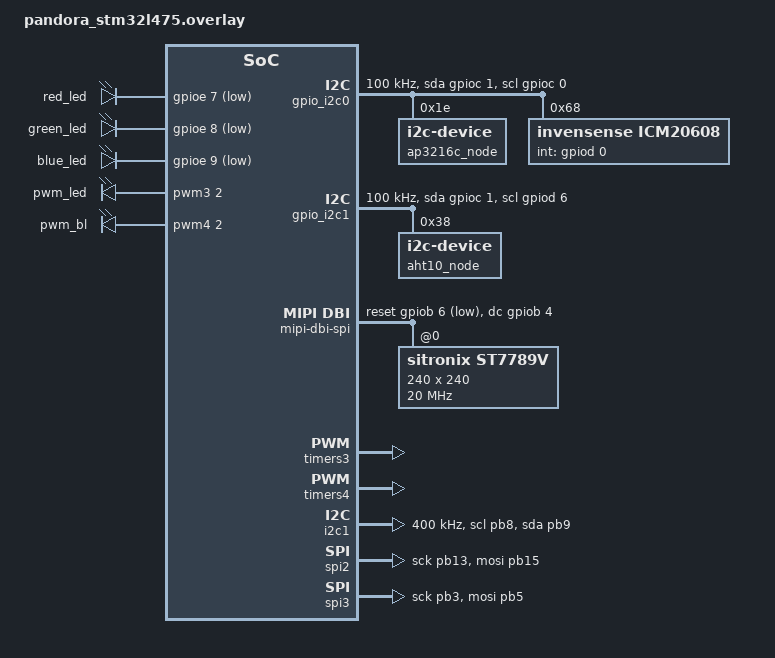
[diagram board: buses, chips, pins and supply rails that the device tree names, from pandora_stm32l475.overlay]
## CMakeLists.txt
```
# SPDX-License-Identifier: Apache-2.0

# 设定CMake最低版本门槛
cmake_minimum_required(VERSION 3.20.0)

# 告诉 Zephyr 在哪里找自定义的设备树绑定文件
list(APPEND DTC_OVERLAY_FILE "${CMAKE_CURRENT_SOURCE_DIR}/pandora_stm32l475.overlay")

# 设置自定义设备树绑定文件 (Bindings) 的搜索根目录。
# ${CMAKE_CURRENT_SOURCE_DIR} 指的是当前 CMakeLists.txt 所在的文件夹路径。
# 这行代码告诉 Zephyr 编译器：“除了去内核找硬件定义，也去我当前的项目目录下找找（通常是 dts/bindings 目录）”。
# 这样你写的 custom,sh1106.yaml 才能被系统识别。
set(DTS_ROOT ${CMAKE_CURRENT_SOURCE_DIR})

# 引入 Zephyr 编译框架的核心包。
# REQUIRED 表示这个包是必须的，找不到就直接报错停止。
# HINTS $ENV{ZEPHYR_BASE} 是给编译器一个“线索”，告诉它去环境变量 ZEPHYR_BASE 指向的路径找 Zephyr。
# 执行完这一行后，Zephyr 的所有编译规则、库文件、驱动框架都会被加载进你的项目中。
find_package(Zephyr REQUIRED HINTS $ENV{ZEPHYR_BASE})

# 定义当前项目的名称。
# 这里将项目命名为 "application"。这个名字会影响最终生成的二进制文件名（如 application.elf）。
# 它必须放在 find_package(Zephyr ...) 之后，因为 Zephyr 需要先初始化环境才能支持后续的项目定义。
project(application)

# 添加应用程序私有的头文件目录
# PRIVATE 表示这个 include 路径只对当前 app target 有效
target_include_directories(app PRIVATE
    include
    drivers/include
)

# 添加所有源文件到应用程序目标
target_sources(app PRIVATE
    src/main.c
    src/led_thread.c
    # src/switch_thread.c
    src/ap3216c_thread.c
    src/aht10_thread.c
    src/icm20608_thread.c
    src/display_thread.c
    # src/norflash_thread.c
    src/fs_thread.c
    src/storage_thread.c
    drivers/data_center.c
    drivers/ap3216c_drv.c
    drivers/aht10_drv.c
    drivers/icm20608_drv.c
    drivers/ssd1306_drv.c
    drivers/st7789v_drv.c
)

# (可选) 链接所需的 Zephyr 库
# 正确的链接方式：只需要链接到 'zephyr' 目标
target_link_libraries(app PRIVATE
    zephyr
)
```

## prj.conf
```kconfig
#
# Kernel & System (内核与系统基础)
#
# 定义系统时钟滴答的频率
CONFIG_SYS_CLOCK_TICKS_PER_SEC=1000
# 启用 Newlib C 库
CONFIG_NEWLIB_LIBC=y
# LVGL初始化或文件系统操作会复用main stack，因此需要增加 main stack size
CONFIG_MAIN_STACK_SIZE=4096
# 开启 Zephyr 的输入子系统
CONFIG_INPUT=y

#
# ==========================================================
# 第一部分：Console (控制台) - 解决“信息从哪发出来”
# ==========================================================
# 启用控制台基础功能
CONFIG_CONSOLE=y

# 【关键点】必须为 y！
# 它是内核启动早期（Shell还没启动时）打印 Zephyr 版本信息的唯一通道。
# 如果设为 n，你将看不到 "*** Booting Zephyr OS ***" 这一行。
CONFIG_UART_CONSOLE=y

# 允许 printk 函数将信息发送到控制台
CONFIG_STDOUT_CONSOLE=y

# ==========================================================
# 第二部分：Logging (日志) - 解决“系统发生了什么”
# ==========================================================
# 启用日志系统
CONFIG_LOG=y

# 设置日志的显示模式
# 由于我们要用 Shell 来显示日志，所以禁用掉原始的 UART 直接输出模式，
# 防止日志和 Shell 的字符在屏幕上打架（乱码）。
CONFIG_LOG_BACKEND_UART=n

# 允许 printk 输出的信息也被当作日志处理
CONFIG_LOG_PRINTK=y

# 日志级别设置（4 是最高级别 INFO，能看到大部分信息）
CONFIG_LOG_MAX_LEVEL=4

# ==========================================================
# 第三部分：Shell (外壳) - 解决“如何与开发板交互”
# ==========================================================
# 启用 Shell 功能
CONFIG_SHELL=y
CONFIG_SHELL_BACKENDS=y

# 启用串口作为 Shell 的后端（让你可以通过串口助手输入命令）
CONFIG_SHELL_BACKEND_SERIAL=y

# 启用 Shell 的日志后端
# 作用：让 Shell 接管 Log 系统的输出。
# 开启后，当系统产生日志时，Shell 会整齐地把它打印出来，
# 并且不会打断你正在输入的命令行（它会自动处理换行和光标）。
CONFIG_SHELL_LOG_BACKEND=y

# 设置 Shell 提示符，你在串口看到的就会是 my_board:~$
CONFIG_SHELL_PROMPT_UART="zephyr:~$ "

# ==========================================================
# 文件系统 - 解决“如何访问外部存储设备”
# ==========================================================
# 开启文件系统子系统
CONFIG_FILE_SYSTEM=y
# 开启 LittleFS 软件库
CONFIG_FILE_SYSTEM_LITTLEFS=y
# 开启 Flash 映射，这样才能通过 label 找到分区
CONFIG_FLASH_MAP=y
# 开启 Flash 页面布局 API
CONFIG_FLASH_PAGE_LAYOUT=y
# 启用 Shell 文件系统命令（如 ls、cat、mkdir 等）
CONFIG_FILE_SYSTEM_SHELL=y

#
# Core Drivers: Serial/UART (核心驱动：串行/UART)
#
# 启用串行子系统
CONFIG_SERIAL=y
# 启用中断驱动模式 (高效)
CONFIG_UART_INTERRUPT_DRIVEN=y

# 启用浮点支持，以便在日志中打印浮点数
CONFIG_CBPRINTF_FP_SUPPORT=y

# 启用 DMA 核心支持
CONFIG_DMA=y

# 启用 PWM
CONFIG_PWM=y
CONFIG_PWM_STM32=y

#
# Core Drivers: GPIO (通用输入/输出)
#
# 启用 GPIO 核心支持
CONFIG_GPIO=y
# 启用 STM32 硬件 GPIO 驱动
CONFIG_GPIO_STM32=y

#
# Core Drivers: I2C
#
# 启用 I2C 核心支持
CONFIG_I2C=y
# 开启软件模拟 I2C 驱动
CONFIG_I2C_GPIO=y
# 启用 STM32 硬件 I2C 驱动
CONFIG_I2C_STM32=y
# 启用中断驱动模式
CONFIG_I2C_STM32_INTERRUPT=y

#
# Core Drivers: QSPI/Flash (W25Q128)
#
# 启用 Flash API 核心支持
CONFIG_FLASH=y
# 启用使用 STM32 HAL 库实现的 QSPI 驱动
CONFIG_FLASH_STM32_QSPI=y
# 启用 STM32 内存映射模式支持 (直接访问外部 Flash)
CONFIG_STM32_MEMMAP=y

#
# Core Drivers: Standard SPI
#
# 启用标准 SPI 核心支持 (如果需要连接 SPI 传感器/屏幕)
CONFIG_SPI=y
CONFIG_SPI_STM32=y
# 暂时关闭 SPI DMA 传输，强制使用轮询/中断模式
# CONFIG_SPI_STM32_DMA=n
# 启用 SPI DMA 传输
CONFIG_SPI_STM32_DMA=y
# 建议开启日志以便调试
# CONFIG_SPI_LOG_LEVEL_DBG=y

#
# Core Drivers: RTC (实时时钟)
#
# 启用 RTC 核心支持
CONFIG_RTC=y
# 启用 STM32 硬件 RTC 驱动
CONFIG_RTC_STM32=y
# 启用 RTC 闹钟功能
CONFIG_RTC_ALARM=y

#
# Core Drivers: LED (发光二极管)
#
# 启用 LED 核心驱动框架
CONFIG_LED=y
# 启用 GPIO LED 驱动 (用于开关控制)
CONFIG_LED_GPIO=y
# 启用 PWM LED 驱动 (用于亮度调节)
CONFIG_LED_PWM=y

#
# Core Drivers: Pin Controller and HW Info (引脚控制器与硬件信息)
#
# 启用引脚控制器核心支持
CONFIG_PINCTRL=y
# 启用 STM32 引脚控制器驱动
CONFIG_PINCTRL_STM32=y
# 启用硬件信息核心支持
CONFIG_HWINFO=y
# 启用 STM32 硬件信息驱动 (读取芯片ID等)
CONFIG_HWINFO_STM32=y

#
# 12. Display Driver (显示驱动 - LCD)
#
# 启用显示子系统
CONFIG_DISPLAY=y

# 使用 SSD1306 OLED 驱动 (I2C)
# Disable Zephyr built-in SSD1306 driver to use our custom driver
# CONFIG_SSD1306 is not set

# LVGL GUI
CONFIG_LVGL=y
# 关闭 LVGL 的自动显示初始化功能，我们会在 display_thread.c 中手动初始化
# CONFIG_LV_Z_NO_INIT_DISPLAY=y
# LVGL 颜色深度设置
# CONFIG_LV_COLOR_DEPTH_16=y
# 设置 LVGL 每个像素占用的字节数 (16 位颜色即 2 字节)
CONFIG_LV_Z_BITS_PER_PIXEL=16
# LVGL 内存池大小设置,给控件之类使用 (16 KB)
CONFIG_LV_Z_MEM_POOL_SIZE=16384
# 将 LVGL 内存池放在 Zephyr 的 Memory Region 中，允许我们指定它放在 SRAM1
CONFIG_LV_Z_MEMORY_POOL_ZEPHYR_REGION=y
# 指定设备树中的 SRAM1 区域作为 LVGL 内存池的存放位置
CONFIG_LV_Z_MEMORY_POOL_ZEPHYR_REGION_NAME="SRAM1"
# 绘图缓冲区（画布大小，240x240/10 像素）
CONFIG_LV_Z_VDB_SIZE=10
# 显存位置重定向 (使用 Memory Region 模式)
# 开启内存域放置功能，允许我们指定显存放在特定的内存区域（如 SDRAM）
CONFIG_LV_Z_VDB_ZEPHYR_REGION=y
# 指定设备树中的 SRAM1 区域
CONFIG_LV_Z_VDB_ZEPHYR_REGION_NAME="SRAM1"
# 启用 Montserrat 字体支持
CONFIG_LV_FONT_MONTSERRAT_24=y
CONFIG_LV_FONT_MONTSERRAT_32=y
CONFIG_LV_FONT_MONTSERRAT_48=y
# 启用 16 位颜色字节交换 (RGB565 格式)
# 如果不开启 SWAP:数据存储顺序可能是 [高8位] [低8位](Big Endian)。
# 开启 SWAP 后：数据会被软件强制变成 [低8位] [高8位](Little Endian)。
# SPI 接口发送数据通常是按字节发送的,如果MCU是小端模式(Little Endian),
# 而屏幕期望的是大端数据（或者反过来）,像素传过去后,字节顺序反了.
# 现象:屏幕能显示图像,但颜色非常诡异,像杂色、花屏,或者颜色有颗粒感.
CONFIG_LV_COLOR_16_SWAP=y
# LVGL默认字体设置
# CONFIG_LV_FONT_DEFAULT_MONTSERRAT_8=y
# LVGL组件开关(默认开启了很多组件，根据需要关闭)
# CONFIG_LV_USE_LABEL=n
# 开启LVGL Demo
# CONFIG_LV_BUILD_DEMOS=y
# 开启基础控件 Demo
# CONFIG_LV_USE_DEMO_WIDGETS=y
# 开启基准测试 Demo
# CONFIG_LV_USE_DEMO_BENCHMARK=y
# 智能手表 Demo
# CONFIG_LV_USE_DEMO_SMARTWATCH=y

# --- 必须开启的核心统计开关 ---
# 这个开关允许 Zephyr 追踪堆内存的使用情况
CONFIG_SYS_HEAP_RUNTIME_STATS=y
# 启用 LVGL 监控功能
CONFIG_LV_USE_SYSMON=y
# 允许 LVGL 监控内存使用情况(自带的适合大屏幕，小屏幕用不了)
# CONFIG_LV_USE_MEM_MONITOR=y
# 提高 LVGL 自身的日志级别，观察它在初始化驱动时到底卡在哪了
CONFIG_LV_USE_LOG=y

# Display 日志级别
# CONFIG_DISPLAY_LOG_LEVEL_DBG=y
# CONFIG_I2C_LOG_LEVEL_DBG=y
# CONFIG_SPI_LOG_LEVEL_DBG=y
```

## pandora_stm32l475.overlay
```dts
/* pandora_stm32l475.overlay */
#include <zephyr/dt-bindings/display/panel.h>
#include <zephyr/dt-bindings/i2c/i2c.h>

/ {
	chosen {
		// zephyr,display = &sh1106_oled;
		zephyr,display = &st7789v;
	};

	aliases {
		led0 = &red_led;
		led1 = &green_led;
		pwm-led0 = &pwm_led;
		sw-up = &joy_up;
		sw-down = &joy_down;
		sw-left = &joy_left;
		sw-right = &joy_right;
		ap3216c-sensor = &ap3216c_node;
        aht10-sensor = &aht10_node;
		pwm-backlight = &pwm_bl;
		// gpio-backlight = &gpio_bl;
	}; 

	leds {
		compatible = "gpio-leds";
        // <&gpioe 7 GPIO_ACTIVE_HIGH> 这一行可能需要调整
        // 但是对于 led 节点，这是一个标志，表示该引脚是低电平有效的。
        
        // 根据您的电路，低电平点亮，所以它是 GPIO_ACTIVE_LOW
        // 这将影响驱动程序对 "开/关" 的解释。

        // 步骤 1: 修正引脚极性 (这是最标准的做法)

		red_led: led_0 {
			gpios = <&gpioe 7 GPIO_ACTIVE_LOW>;
		};

		green_led: led_1 {
			gpios = <&gpioe 8 GPIO_ACTIVE_LOW>;
		};

		blue_led: led_2 {
			gpios = <&gpioe 9 GPIO_ACTIVE_LOW>;
		};
		// gpio_bl: led_3 {
		// 	gpios = <&gpiob 7 GPIO_ACTIVE_HIGH>;
		// };
	};

	/* 定义 PWM LED 节点 */
	pwmleds: pwmleds {
		compatible = "pwm-leds";
		status = "okay";

		pwm_led: pwm_led {		
			/*
			* <&pwm4   : 使用 TIM3 定时器
			* 4       : 使用第 2 通道 (对应 PC7)
			* PWM_MSEC(20) : PWM 周期 20ms (50Hz)，适合 LED 调光
			* 100000 : 10KHz 对应周期 100,000 ns, 适用于无极级调光背光
			* PWM_POLARITY_NORMAL : 正常极性 (高电平有效/点亮)
			*/
			pwms = <&pwm3 2 100000 PWM_POLARITY_INVERTED>;
		};
		pwm_bl: pwm_bl {
			/* * 背光控制引脚 (Backlight-pwm)
			* 对应物理引脚 PD15，高电平点亮 (GPIO_ACTIVE_HIGH)
			* 100000 : 10KHz 对应周期 100,000 ns, 适用于无极级调光背光
			* PWM_POLARITY_NORMAL> : 正常极性 (高电平有效/点亮)
			*/
			// pwms = <&pwm4 4 100000 PWM_POLARITY_NORMAL>;
			pwms = <&pwm4 2 100000 PWM_POLARITY_NORMAL>;
		};
	};

	/* 模拟 I2C 控制器必须放在根节点下 */
    /* 这里的名字可以叫 gpio-i2c_0，但 compatible 必须固定 */
    gpio_i2c0: gpio_i2c0 {
        compatible = "gpio-i2c";
        status = "okay";  /* 激活该节点 */

        /* SDA 对应 PC1, SCL 对应 PC0 */
        /* 这里的 (GPIO_ACTIVE_HIGH | GPIO_OPEN_DRAIN) 是标准要求 */
        sda-gpios = <&gpioc 1 (GPIO_ACTIVE_HIGH | GPIO_OPEN_DRAIN)>;
        scl-gpios = <&gpioc 0 (GPIO_ACTIVE_HIGH | GPIO_OPEN_DRAIN)>;
        
        clock-frequency = <I2C_BITRATE_STANDARD>;
        #address-cells = <1>;
        #size-cells = <0>;

        /* 2. 传感器作为子节点挂载 */
        ap3216c_node: ap3216c@1e {
            compatible = "i2c-device"; /* 通用 I2C 设备驱动 */
            reg = <0x1e>;              /* 传感器地址 */
            status = "okay";
        };

		/* 加速度传感器作为子节点挂载 */
		icm20608: icm20608@68 {
			compatible = "invensense,icm20608";
			reg = <0x68>;
			status = "okay";
			/* PD0 默认检测高电平,GPTO_EXTI0 */
			int-gpios = <&gpiod 0 GPIO_ACTIVE_HIGH>;
    	};
    };

    /* 定义第2个模拟 I2C 总线，连接 AHT10 */
    gpio_i2c1: gpio_i2c1 {
        compatible = "gpio-i2c";
        status = "okay";
        sda-gpios = <&gpioc 1 (GPIO_ACTIVE_HIGH | GPIO_OPEN_DRAIN)>;
        scl-gpios = <&gpiod 6 (GPIO_ACTIVE_HIGH | GPIO_OPEN_DRAIN)>;
        clock-frequency = <I2C_BITRATE_STANDARD>;
        #address-cells = <1>;
        #size-cells = <0>;

        aht10_node: aht10@38 {
            compatible = "i2c-device";
            reg = <0x38>;
            status = "okay";
        };
    };

	mipi-dbi-spi {
		compatible = "zephyr,mipi-dbi-spi";
		spi-dev = <&spi3>;
		/* * 数据/命令选择引脚 (Data/Command)
		* 对应物理引脚 PB11，高电平有效 (GPIO_ACTIVE_HIGH)
		*/
		dc-gpios = <&gpiob 4 GPIO_ACTIVE_HIGH>;
		/* * 复位引脚 (Reset)
		* 对应物理引脚 PB10，低电平有效 (GPIO_ACTIVE_LOW)，拉低复位
		*/
		reset-gpios = <&gpiob 6 GPIO_ACTIVE_LOW>;
		write-only;
		status = "okay";
		#address-cells = <1>;
		#size-cells = <0>;

		st7789v:st7789v@0 {
			compatible = "sitronix,st7789v";
			status = "okay";
			mipi-mode = "MIPI_DBI_MODE_SPI_4WIRE";
			/* * SPI 通信最大频率
			* 这里设置为 4MHz (4,000,000 Hz)
			*/
			mipi-max-frequency = <20000000>;
			/* * 片选索引
			* <0> 表示使用 SPI 控制器的第 0 个片选引脚 
			*/
			reg = <0>;

			/* ========= 屏幕物理参数 ========= */

			/* 屏幕宽度：240 像素 */
			width = <240>;
			/* 屏幕高度：280 像素 */
			height = <240>;
			/* * X 轴偏移量
			* ST7789 驱动芯片支持的分辨率往往比实际屏幕大，需要设置偏移量来对齐图像
			*/
			x-offset = <0>;
			/* Y 轴偏移量：20 像素 */
			y-offset = <0>;

			/* ========= 寄存器初始化参数 (对应 st7789v.h) ========= */

			/* * VCOMS 设置 (VCOMS Setting)
			* 对应头文件命令: ST7789V_CMD_VCOMS (0xBB)
			* 作用: 设置 VCOM 电压，控制屏幕对比度和闪烁
			* 当前值: 0x3F (十进制 63)
			*/
			vcom = <0x19>;
			/* * 栅极控制 (Gate Control)
			* 对应头文件命令: ST7789V_CMD_GCTRL (0xB7)
			* 作用: 设置栅极电压输出电平 (VGH/VGL)
			* 当前值: 0x05 (具体电压需查阅数据手册电气特性表)
			*/
			gctrl = <0x35>;
			/* * VRH 设置 (VRH Setting)
			* 对应头文件命令: ST7789V_CMD_VRH (0xC3)
			* 作用: VRH 电压设置，影响显示屏的伽马电压幅度
			* 当前值: 0x0F
			*/
			vrhs = <0x12>;
			/* * VDV 设置 (VDV Setting)
			* 对应头文件命令: ST7789V_CMD_VDS (0xC4)
			* 作用: VDV 电压设置，与 VRH 配合调节
			* 当前值: 0x20
			*/
			vdvs = <0x20>;
			/* * 存储数据访问控制 (Memory Data Access Control)
			* 对应头文件命令: ST7789V_CMD_MADCTL (0x36)
			* 作用: 控制屏幕旋转、镜像、RGB/BGR 顺序(红蓝反色)
			* 当前值: 0x00 
			* 解析: 对应 ST7789V_MADCTL_MY_TOP_TO_BOTTOM (0x00) | ST7789V_MADCTL_MX_LEFT_TO_RIGHT (0x00)
			* 含义: 正常显示，无旋转，RGB 顺序
			*/
			mdac = <0x00>;
			/* * 伽马曲线选择 (Gamma Set)
			* 对应头文件命令: ST7789V_CMD_GAMSET (0x26)
			* 作用: 选择预设的伽马曲线
			* 当前值: 0x01 (通常表示使用 Gamma Curve 1)
			*/
			gamma = <0x01>;
			/* * 接口像素格式 (Interface Pixel Format)
			* 对应头文件命令: ST7789V_CMD_COLMOD (0x3A)
			* 作用: 设置颜色深度
			* 当前值: 0x05 
			* 解析: 对应 ST7789V_COLMOD_FMT_16bit (5)
			* 含义: 使用 16位颜色 (RGB565)
			*/
			colmod = <0x65>;
			/* * LCM 控制 (LCM Control)
			* 对应头文件命令: ST7789V_CMD_LCMCTRL (0xC0)
			* 作用: 某些特定面板的设置
			* 当前值: 0x2c
			* 解析: 0x20 (XBGR) | 0x08 (XMX) | 0x04 (XMH)
			* 含义: 根据头文件，设置了 XBGR, XMX, XMH 位
			*/
			lcm = <0x2c>;
			/* * 前廊控制 (Porch Control)
			* 对应头文件命令: ST7789V_CMD_PORCTRL (0xB2)
			* 作用: 设置前廊、后廊时间，影响刷新时序
			* 参数: [0c 0c 00 33 33] (5个字节的参数序列)
			*/
			porch-param = [0c 0c 00 33 33];
			/* * 命令 2 使能 (Command 2 Enable)
			* 对应头文件命令: ST7789V_CMD_CMD2EN (0xDF)
			* 作用: 开启特殊命令访问权限 (通常用于制造厂商调试)
			* 参数: [5a 69 02 01] (解锁密钥序列)
			*/
			cmd2en-param = [5a 69 02 01];
			/* * 电源控制 1 (Power Control 1)
			* 对应头文件命令: ST7789V_CMD_PWCTRL1 (0xD0)
			* 作用: 设置 AVDD, VCL, VGH, VGL 电压
			* 参数: [a4 a1]
			*/
			pwctrl1-param = [a4 a1];
			/* * 正极性伽马校正 (Positive Gamma Control)
			* 对应头文件命令: ST7789V_CMD_PVGAMCTRL (0xE0)
			* 作用: 调整红色/高亮部分的灰度表现
			* 参数: 14个字节的校准数据
			*/
			pvgam-param = [d0 04 0d 11 13 2b 3f 54 4c 18 0d 0b 1f 23];
			/* * 负极性伽马校正 (Negative Gamma Control)
			* 对应头文件命令: ST7789V_CMD_NVGAMCTRL (0xE1)
			* 作用: 调整暗部/黑色的灰度表现
			* 参数: 14个字节的校准数据
			*/
			nvgam-param = [d0 04 0c 11 13 2c 3f 44 51 2f 1f 1f 20 23];
			/* * RAM 控制 (RAM Control)
			* 对应头文件命令: ST7789V_CMD_RAMCTRL (0xB0)
			* 作用: 设置接口类型和访问方式
			* 参数: [00 F0]
			*/
			ram-param = [00 F0];
			/* * RGB 接口控制 (RGB Interface Control)
			* 对应头文件命令: ST7789V_CMD_RGBCTRL (0xB1)
			* 作用: 设定 RGB 接口的时序和极性
			* 参数: [CD 08 14]
			*/
			rgb-param = [CD 08 14];
			// inversion-off;
		};
	};
};

&dma1 {
	status = "okay";
};

&dma2 {
	status = "okay";
};

dmauart: &usart1 {
	dmas = <&dma2 6 2 (STM32_DMA_PERIPH_TX | STM32_DMA_PRIORITY_HIGH)>,
	       <&dma2 7 2 (STM32_DMA_PERIPH_RX | STM32_DMA_PRIORITY_HIGH)>;
	dma-names = "tx", "rx";
};

/* 启用 TIM3 定时器 */
&timers3 {
	status = "okay";
	/* 预分频器设为 0，获得最大频率（80MHz时钟源） */
	st,prescaler = <0>;

	pwm3: pwm {
		status = "okay";
		/* 引用上面定义的 pinctrl */
		pinctrl-0 = <&tim3_ch2_pc7>;
		pinctrl-names = "default";
		label = "timers3_pwm";
	};
};

/* 启用 TIM4 定时器 */
&timers4 {
	status = "okay";
	/* 预分频器设为 0，获得最大频率（80MHz时钟源） */
	st,prescaler = <0>;

	pwm4: pwm {
		status = "okay";
		/* 引用上面定义的 pinctrl */
		pinctrl-0 = <&tim4_ch2_pb7 &tim4_ch4_pd15>;
		pinctrl-names = "default";
		label = "timers4_pwm";
	};
};

&i2c1 {
	status = "okay";
    pinctrl-0 = <&i2c1_scl_pb8 &i2c1_sda_pb9>; // 确认PB8/PB9引脚 i2c1_scl_pb8,i2c1_sda_pb9
	pinctrl-names = "default";
    clock-frequency = <I2C_BITRATE_FAST>;
	dmas = <&dma1 6 3 STM32_DMA_PERIPH_TX>,
	       <&dma1 7 3 STM32_DMA_PERIPH_RX>;
	dma-names = "tx", "rx";
	// SH1106 节点 (标记为自定义，避免 Zephyr 内置驱动启用)
	sh1106_oled: sh1106@3c {
		compatible = "custom,sh1106"; // custom compatible to avoid built-in driver
		reg = <0x3c>;               // Device I2C address (0x3C)
		status = "disabled";
		width = <128>;
		height = <64>;
		// pixel-format = <PIXEL_FORMAT_MONO10>;
		/* Keep typical values in DT for diagnostics, but these are not consumed by our test driver */
		segment-offset = <2>;
		page-offset = <0>;
		display-offset = <0>;
		multiplex-ratio = <63>;
		prechargep = <0x22>; /* typical SSD1306 precharge period value */
		/* Optional flags: segment-remap, com-invdir, com-sequential */
		segment-remap;
		com-invdir;
	};
};

// &i2c3 {
// 	status = "okay";
//     pinctrl-0 = <&i2c3_scl_pc0 &i2c3_sda_pc1>; // 确认PC0/PC1引脚 i2c3_scl_pc0,i2c3_sda_pc1
// 	pinctrl-names = "default";
//     clock-frequency = <I2C_BITRATE_STANDARD>;
// 	// AP3216C 节点
//     ap3216c: ap3216c@1e {
//         compatible = "liteon,ap3216c"; // 兼容性字符串可以自定义
//         reg = <0x1e>;               // 传感器I2C设备地址 (0x1E)
//         status = "okay";
//     };
// };

/* SPI2配置 - LCD使用PB13(SCK)和PB15(MOSI)
- SPI2_CLK  PB13
- SPI2_MOSI PB15
- RES       PB10
- DC        PB11
- CS        PB12
- BLK       PD15 (PWM控制背光)
*/
&spi2 {
	// pinctrl-0 = <&spi2_nss_pb12 &spi2_sck_pb13 &spi2_mosi_pb15>;
	pinctrl-0 = <&spi2_sck_pb13 &spi2_mosi_pb15>;
	pinctrl-names = "default";
	status = "okay";
	dmas = 	<&dma1 5 1 STM32_DMA_PERIPH_TX>;
	dma-names = "tx";
	cs-gpios = <&gpiob 12 GPIO_ACTIVE_LOW>;
};

/* SPI3配置 - LCD使用PB3(SCK)和PB5(MOSI)
- SPI3_CLK  PB3
- SPI3_MOSI PB5
- RES       PB6
- DC        PB4
- CS        PD7
- BLK       PB7 (GPIO控制背光,TIM4_CH2 PWM控制)
*/
&spi3 {
	pinctrl-0 = <&spi3_sck_pb3 &spi3_mosi_pb5>;
	pinctrl-names = "default";
	status = "okay";
	// dmas = 	<&dma1 5 1 STM32_DMA_PERIPH_TX>;
	// dma-names = "tx";
	cs-gpios = <&gpiod 7 GPIO_ACTIVE_LOW>;
};

&w25q128jv {
    partitions {
        compatible = "fixed-partitions";
        #address-cells = <1>;
        #size-cells = <1>;

		/* RTOS系统区: 2MB */
        rtos_partition: partition@0 {
            label = "rtos";
            reg = <0x00000000 DT_SIZE_M(2)>;
        };

        /* 中文字库区: 约 6MB */
        font_partition: partition@200000 {
            label = "chinese-font";
            reg = <0x00200000 0x00603000>;
        };

        /* 用户使用区: 约 1MB */
        storage_partition: partition@803000 {
            label = "storage";
            reg = <0x00803000 0x000FD000>;
        };

		/* 对应你图片里的文件系统区 */
        filesystem_partition: partition@900000 {
            label = "filesystem";
            reg = <0x00900000 DT_SIZE_M(7)>;
        };
    };
};
```

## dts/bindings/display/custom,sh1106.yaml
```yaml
# Copyright (c) 2023, TOKITA Hiroshi
# SPDX-License-Identifier: Apache-2.0

description: SH1106 128x64 dot-matrix display controller on I2C bus

compatible: "custom,sh1106"

include: ["solomon,ssd1306fb-common.yaml", "i2c-device.yaml"]
```

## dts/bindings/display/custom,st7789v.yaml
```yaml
# custom,st7789v.yaml

description: ST7789V 屏幕驱动自定义绑定文件

# 这里的 compatible 必须和 Overlay 里的保持一致
compatible: "custom,st7789v"

# 表示这是一个 SPI 设备，会自动继承 SPI 相关的标准属性（如 reg, spi-max-frequency）
include: spi-device.yaml

properties:
  # 引脚定义
  dc-gpios:
    type: phandle-array
    required: true
    description: 数据/命令选择引脚 (DC)

  reset-gpios:
    type: phandle-array
    required: false
    description: 复位引脚 (RESET)

  bl-gpios:
    type: phandle-array
    required: false
    description: 背光控制引脚 (Backlight)

  # 官方推荐属性名
  pwms:
    type: phandle-array
    required: false
    description: "用于背光控制的 PWM 信号"

  # 屏幕参数定义
  width:
    type: int
    required: true
    description: 屏幕像素宽度

  height:
    type: int
    required: true
    description: 屏幕像素高度

  x-offset:
    type: int
    required: true
  
  y-offset:
    type: int
    required: true

  # 寄存器配置参数
  vcom:
    type: int
    required: true
  
  gctrl:
    type: int
    required: true

  vrhs:
    type: int
  
  vdvs:
    type: int

  mdac:
    type: int
    required: true

  gamma:
    type: int
    required: true

  colmod:
    type: int
    required: true

  lcm:
    type: int
    required: true

  inversion-off:
    type: boolean
    description: 如果存在此属性，则关闭颜色反转

  # 数组类型的参数 (对应你代码里的 uint8_t 数组)
  porch-param:
    type: uint8-array
    required: true

  cmd2en-param:
    type: uint8-array
    required: true

  pwctrl1-param:
    type: uint8-array
    required: true

  pvgam-param:
    type: uint8-array
    required: true

  nvgam-param:
    type: uint8-array
    required: true

  ram-param:
    type: uint8-array
    required: true

  rgb-param:
    type: uint8-array
    required: true

  ready-time-ms:
    type: int
    default: 120
```

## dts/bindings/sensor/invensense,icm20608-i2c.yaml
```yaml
# Copyright (c) 2019 Nordic Semiconductor ASA
# SPDX-License-Identifier: Apache-2.0

description: ICM-20608  motion tracking device

# ICM-20608  is SPI or I2C.  MPU-6050 is I2C-only.  Driver does not
# support SPI so stick with I2C variant.
compatible: "invensense,icm20608"

include: [sensor-device.yaml, i2c-device.yaml]

properties:
  int-gpios:
    type: phandle-array
    description: |
      The INT signal default configuration is active-high.  The
      property value should ensure the flags properly describe the
      signal that is presented to the driver.

  accel-fs:
    type: int
    default: 2
    description: |
      Accelerometer full-scale range.
      An X value represents a range of +/- X g.
      The power-on reset state of the sensor matches the default value of 2.
    enum:
      - 2
      - 4
      - 8
      - 16

  gyro-fs:
    type: int
    default: 250
    description: |
      Gyroscope full-scale range.
      An X value represents a range of +/- X deg/s.
      The power-on reset state of the sensor matches the default value of 250.
    enum:
      - 250
      - 500
      - 1000
      - 2000

  smplrt-div:
    type: int
    default: 0
    description: |
      The base sample rate is 8 kHz for the gyroscope and 1 kHz for
      the accelerometer.
      A division factor of X sets the sample rate to: baserate / (1 + X).
      Valid values for X are 0 through 255.
      The power-on reset state of the sensor matches the default value of 0.
```

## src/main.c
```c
#include <zephyr/kernel.h>
#include <zephyr/logging/log.h>
/* 引入显示线程头文件 */
#include "display_thread.h"

LOG_MODULE_REGISTER(main, LOG_LEVEL_INF);

int main(void)
{
    // 仅仅打印一行启动信息即可
    LOG_INF("=== Pandora System Power Up ===");

    // 启动显示线程（它会去使用我们指定的 SRAM1 栈）
    start_display_thread();

    // 无需调用 start_xxx_thread()，因为它们已经自动运行了
    
    // 关键：进入永久休眠，把所有的 CPU 资源和栈空间释放给那些重要线程
    while (1) {
        k_sleep(K_FOREVER);
    }
    return 0;
}
```

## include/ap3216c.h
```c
#ifndef __DRV_AP3216C_H__
#define __DRV_AP3216C_H__

#include <zephyr/types.h>

enum ap3216c_mode_value
{
    AP3216C_MODE_POWER_DOWN,      //Power down (Default)
    AP3216C_MODE_ALS,             //ALS function active
    AP3216C_MODE_PS,              //PS+IR function active
    AP3216C_MODE_ALS_AND_PS,      //ALS and PS+IR functions active
    AP3216C_MODE_SW_RESET,        //SW reset
    AP3216C_MODE_ALS_ONCE,        //ALS function once
    AP3216C_MODE_PS_ONCE,         //PS+IR function once
    AP3216C_MODE_ALS_AND_PS_ONCE, //ALS and PS+IR functions once
};

enum ap3216c_int_clear_manner
{
    AP3216C_INT_CLEAR_MANNER_BY_READING,  //INT is automatically cleared by reading data registers(Default)
    AP3216C_ALS_CLEAR_MANNER_BY_SOFTWARE, //Software clear after writing 1 into address 0x01 each bit
};

enum als_range
{
    AP3216C_ALS_RANGE_20661, //Resolution = 0.35 lux/count(default).
    AP3216C_ALS_RANGE_5162,  //Resolution = 0.0788 lux/count.
    AP3216C_ALS_RANGE_1291,  //Resolution = 0.0197 lux/count.
    AP3216C_ALS_RANGE_323,   //Resolution = 0.0049 lux/count
};
typedef enum als_range als_range_t;

enum als_gain
{
    AP3216C_ALS_GAIN1, //detection distance *1.
    AP3216C_ALS_GAIN2, //detection distance *2 (default).
    AP3216C_ALS_GAIN4, //detection distance *4.
    AP3216C_ALS_GAIN8, //detection distance *8.
};
typedef enum als_gain als_gain_t;

enum ap3216c_cmd
{
    AP3216C_SYSTEM_MODE,          //system  Configuration(Default : 000)
    AP3216C_INT_PARAM,            //INT Clear Manner(Default : 0)
    AP3216C_ALS_RANGE,            //ALS dynamic range(Default : 00)
    AP3216C_ALS_PERSIST,          //ALS persist(Default : 0000)
    AP3216C_ALS_CALIBRATION,      //ALS window loss calibration(Default : 0x40)
    AP3216C_ALS_LOW_THRESHOLD_L,  //Lower byte of low interrupt threshold for ALS(Default : 0x00)
    AP3216C_ALS_LOW_THRESHOLD_H,  //Higher byte of low interrupt threshold for ALS(Default : 0x00)
    AP3216C_ALS_HIGH_THRESHOLD_L, //Lower byte of high interrupt threshold for ALS (Default : 0xFF)
    AP3216C_ALS_HIGH_THRESHOLD_H, //Higher byte of high interrupt threshold for ALS(Default : 0xFF)
    AP3216C_PS_INTEGRATED_TIME,   //PS or IR Integrated time select(Default : 0000)
    AP3216C_PS_GAIN,              //PS gain (Default : 01)
    AP3216C_PS_PERSIST,           //Interrupt filter(Default : 01)
    AP3216C_PS_LED_CONTROL,       //LED pulse(Default : 01)
    AP3216C_PS_LED_DRIVER_RATIO,  //LED driver ratio(Default : 11)
    AP3216C_PS_INT_MODE,          //PS INT Mode(Default : 0x01)
    AP3216C_PS_MEAN_TIME,         //PS mean time(Default : 0x00)
    AP3216C_PS_WAITING_TIME,      //PS LED Waiting(Default : 0x00)
    AP3216C_PS_CALIBRATION_L,     //PS Calibration L(Default : 0x00)
    AP3216C_PS_CALIBRATION_H,     //PS Calibration H(Default : 0x00)
    AP3216C_PS_LOW_THRESHOLD_L,   //PS Low Threshold L(Default :0x00)
    AP3216C_PS_LOW_THRESHOLD_H,   //PS Low Threshold H(Default :0x00)
    AP3216C_PS_HIGH_THRESHOLD_L,  //PS high Threshold L(Default :0xff)
    AP3216C_PS_HIGH_THRESHOLD_H,  //PS high Threshold H(Default :0xff)
};
typedef enum ap3216c_cmd ap3216c_cmd_t;

//System Register
#define AP3216C_SYS_CONFIGURATION_REG 0x00 //default
#define AP3216C_SYS_INT_STATUS_REG 0x01
#define AP3216C_SYS_INT_CLEAR_MANNER_REG 0x02
#define AP3216C_IR_DATA_L_REG 0x0A
#define AP3216C_IR_DATA_H_REG 0x0B
#define AP3216C_ALS_DATA_L_REG 0x0C
#define AP3216C_ALS_DATA_H_REG 0x0D
#define AP3216C_PS_DATA_L_REG 0x0E
#define AP3216C_PS_DATA_H_REG 0x0F

//ALS Register
#define AP3216C_ALS_CONFIGURATION_REG 0x10 //range 5:4,persist 3:0
#define AP3216C_ALS_CALIBRATION_REG 0x19
#define AP3216C_ALS_THRESHOLD_LOW_L_REG 0x1A  //bit 7:0
#define AP3216C_ALS_THRESHOLD_LOW_H_REG 0x1B  //bit 15:8
#define AP3216C_ALS_THRESHOLD_HIGH_L_REG 0x1C //bit 7:0
#define AP3216C_ALS_THRESHOLD_HIGH_H_REG 0x1D //bit 15:8

//PS Register
#define AP3216C_PS_CONFIGURATION_REG 0x20
#define AP3216C_PS_LED_DRIVER_REG 0x21
#define AP3216C_PS_INT_FORM_REG 0x22
#define AP3216C_PS_MEAN_TIME_REG 0x23
#define AP3216C_PS_LED_WAITING_TIME_REG 0x24
#define AP3216C_PS_CALIBRATION_L_REG 0x28
#define AP3216C_PS_CALIBRATION_H_REG 0x29
#define AP3216C_PS_THRESHOLD_LOW_L_REG 0x2A  //bit 1:0
#define AP3216C_PS_THRESHOLD_LOW_H_REG 0x2B  //bit 9:2
#define AP3216C_PS_THRESHOLD_HIGH_L_REG 0x2C //bit 1:0
#define AP3216C_PS_THRESHOLD_HIGH_H_REG 0x2D //bit 9:2

#define AP3216C_ADDR 0x1e /*0x3c=0x1e<<1*/

#endif /*__DRV_AP3216C_H__ */
```

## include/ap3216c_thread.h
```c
/*
 * application/include/ap3216c_thread.h
 * AP3216C 传感器数据读取线程的头文件
 */

#ifndef AP3216C_THREAD_H
#define AP3216C_THREAD_H

#include <zephyr/types.h>
#include "ap3216c.h"

/**
 * @brief 启动 AP3216C 传感器读取线程
 *
 * 该函数负责初始化并启动 AP3216C 传感器读取线程。
 * 线程会初始化 I2C 设备，然后周期性地读取 ALS/PS 数据。
 */
void start_ap3216c_thread(void);

#endif // AP3216C_THREAD_H
```

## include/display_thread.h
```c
/**
 * @file display_thread.h
 * @brief Display Thread Header
 */

#ifndef DISPLAY_THREAD_H
#define DISPLAY_THREAD_H

/**
 * @brief 启动显示线程
 */
void start_display_thread(void);

#endif /* DISPLAY_THREAD_H */
```

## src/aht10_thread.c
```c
/*
 * application/src/aht10_thread.c
 * AHT10 传感器数据读取线程的实现
 */

#include <zephyr/kernel.h>
#include <zephyr/drivers/i2c.h>
#include <zephyr/logging/log.h>
#include "aht10.h"
#include "data_center.h"

// 注册日志模块
LOG_MODULE_REGISTER(AHT10_TASK, LOG_LEVEL_INF);

// 通过设备树别名获取I2C设备的规范结构
static const struct i2c_dt_spec aht10_i2c_spec = I2C_DT_SPEC_GET(DT_NODELABEL(aht10_node));

// --- 消息队列定义 ---
// 队列项大小为 sizeof(aht10_data_t)，深度为 10
K_MSGQ_DEFINE(aht10_msgq, sizeof(aht10_data_t), 10, 4);

/* --- 线程入口函数 --- */
void aht10_thread_entry(void *p1, void *p2, void *p3)
{
    int ret;
    aht10_data_t sensor_data;
    const int SLEEP_MS = 2000; // 每2秒读取一次

    LOG_INF("AHT10 Thread started. I2C Bus: %s", aht10_i2c_spec.bus->name);

    // 1. 检查 I2C 总线是否就绪
    if (!device_is_ready(aht10_i2c_spec.bus)) {
        LOG_ERR("I2C Bus is not ready. Aborting AHT10 thread.");
        return;
    }

    // 2. 初始化传感器
    // AHT10 上电后需要一点时间稳定，建议先等待
    k_msleep(100); 

    ret = aht10_init_sensor(&aht10_i2c_spec);
    if (ret != 0) {
        LOG_ERR("AHT10 initialization failed: %d", ret);
        // 初始化失败是否退出线程取决于你的需求，这里选择继续尝试或直接退出
        return; 
    }

    // 3. 周期性循环
    while (1) {
        // 读取数据
        ret = aht10_read_data(&aht10_i2c_spec, &sensor_data);

        if (ret == 0) {
            // 打印调试信息 (float 在 Zephyr 中打印可能需要配置 CONFIG_CBPRINTF_FP_SUPPORT=y)
            // 如果为了保险，可以强转成整数打印部分小数
            LOG_DBG("AHT10: Temp=%.2f C, Humi=%.2f %%RH", 
                    (double)sensor_data.temperature, (double)sensor_data.humidity);

            // 将数据放入消息队列供其他模块使用
            // K_NO_WAIT: 如果队列满了，丢弃旧数据或直接跳过，不阻塞线程
            k_msgq_put(&aht10_msgq, &sensor_data, K_NO_WAIT);
            // 同时更新数据中心的全局状态
            data_center_update_env(&sensor_data);
        } else {
            LOG_WRN("Failed to read AHT10: %d", ret);
            
            // 如果连续读取失败，可能需要尝试重新复位或初始化
            // aht10_soft_reset(&aht10_i2c_spec);
            // k_msleep(20);
            // aht10_init_sensor(&aht10_i2c_spec);
        }

        k_msleep(SLEEP_MS);
    }
}

/* --- 线程定义 --- */
#define AHT10_STACK_SIZE 1024
#define AHT10_PRIORITY 7

K_THREAD_DEFINE(aht10_tid, AHT10_STACK_SIZE,
                aht10_thread_entry, NULL, NULL, NULL,
                AHT10_PRIORITY, 0, 0);
```

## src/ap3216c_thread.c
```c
/*
 * application/src/ap3216c_thread.c
 * AP3216C 传感器数据读取线程的实现
 */

#include <zephyr/kernel.h>
#include <zephyr/drivers/gpio.h>
#include <zephyr/drivers/i2c.h>
#include <zephyr/logging/log.h>
#include <errno.h> // 引入标准错误码
#include "ap3216c_thread.h"
#include "data_center.h"

// 启用日志记录
LOG_MODULE_REGISTER(AP3216C_TASK, LOG_LEVEL_INF);

// 通过设备树别名获取I2C设备的规范结构
// 这里的 ap3216c_node 对应上面 overlay 里的标签
static const struct i2c_dt_spec ap3216c_i2c_spec = I2C_DT_SPEC_GET(DT_NODELABEL(ap3216c_node));

// --- 新增：全局变量，用于存储最新的光感值 ---
// 使用 volatile 关键字告诉编译器该变量可能在程序流程之外被修改
// volatile uint16_t g_als_raw_value = 0;

// 定义消息队列 ---
// 每一个数据包大小为 uint16_t，队列长度为 5
K_MSGQ_DEFINE(als_msgq, sizeof(uint16_t), 5, 4);

/**
 * @brief 初始化 AP3216C 传感器
 */
static int ap3216c_init(void)
{
    int ret;
    
    // 1. 复位传感器
    ret = ap3216c_reset_sensor(&ap3216c_i2c_spec);
    if (ret != 0) {
        LOG_ERR("Failed to reset AP3216C: %d", ret);
        return ret;
    }
    
    // 2. 切换到 ALS 和 PS 工作模式
    // 注意：这里使用 ap3216c_set_mode 替换了 ap3216c_init_mode
    ret = ap3216c_set_mode(&ap3216c_i2c_spec, AP3216C_MODE_ALS_AND_PS);
    if (ret != 0) {
        LOG_ERR("Failed to set mode AP3216C: %d", ret);
    } else {
        LOG_DBG("AP3216C initialized and set to ALS/PS mode successfully.");
    }

    // 3. (可选) 设置 ALS 增益为 AP3216C_ALS_GAIN1 (1x 增益，最大量程)
    ret = ap3216c_set_param(&ap3216c_i2c_spec, AP3216C_ALS_RANGE, AP3216C_ALS_RANGE_20661);
    if (ret != 0) {
        LOG_WRN("Failed to set ALS Gain: %d", ret);
    }


    return ret;
}

/* --- 线程入口点 --- */

void ap3216c_thread_entry(void *p1, void *p2, void *p3)
{
    int ret;
    uint16_t als_value = 0;
    const int SLEEP_MS = 1000;

    LOG_INF("AP3216C Thread started. I2C Bus: %s", ap3216c_i2c_spec.bus->name);

    // 1. 检查 I2C 设备是否就绪
    if (!device_is_ready(ap3216c_i2c_spec.bus)) {
        LOG_ERR("I2C Bus is not ready. Aborting thread.");
        return;
    }

    // 2. 初始化传感器
    ret = ap3216c_init();
    if (ret != 0) {
        LOG_ERR("Sensor initialization failed. Aborting thread. Error: %d", ret);
        return;
    }

    // 等待传感器启动 (至少 300ms)
    k_msleep(500);

    // 3. 周期性读取数据
    while (1) {
        ret = ap3216c_read_als_raw(&ap3216c_i2c_spec, &als_value);

        if (ret == 0) {
            LOG_DBG("ALS Data: %u raw", als_value);
            // K_NO_WAIT 表示如果队列满了，不等待直接跳过
            k_msgq_put(&als_msgq, &als_value, K_NO_WAIT);
            // 同时更新数据中心的全局状态
            data_center_update_lux(als_value);
        } else {
            LOG_WRN("Failed to read ALS data: %d", ret);
        }

        k_msleep(SLEEP_MS);
    }
}


/* --- 线程定义和启动 --- */

// 定义栈空间、优先级和线程入口函数
#define AP3216C_STACK_SIZE 512
#define AP3216C_PRIORITY 7 // 较低的优先级，因为是周期性读取

K_THREAD_DEFINE(ap3216c_tid, AP3216C_STACK_SIZE, 
                ap3216c_thread_entry, NULL, NULL, NULL,
                AP3216C_PRIORITY, 0, 0);
```

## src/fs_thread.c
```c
#include <zephyr/kernel.h>
#include <zephyr/device.h>
#include <zephyr/fs/fs.h>
#include <zephyr/fs/littlefs.h>
#include <zephyr/storage/flash_map.h>
#include <zephyr/logging/log.h>
#include <string.h>

// 注册日志模块
LOG_MODULE_REGISTER(FS_CHECK, LOG_LEVEL_INF);

/* ---------------- 1. 文件系统配置 ---------------- */
// 获取设备树中的 filesystem 分区 ID
#define STORAGE_PARTITION_ID FIXED_PARTITION_ID(filesystem_partition)

// 定义 LittleFS 的配置结构
FS_LITTLEFS_DECLARE_DEFAULT_CONFIG(lfs_data);

static struct fs_mount_t fs_mnt = {
    .type = FS_LITTLEFS,
    .fs_data = &lfs_data,
    .storage_dev = (void *)STORAGE_PARTITION_ID,
    .mnt_point = "/lfs",
};

/**
 * @brief 文件系统自检函数
 * 执行挂载和一次性读写测试
 */
void fs_check_thread_entry(void *p1, void *p2, void *p3)
{
    int ret;
    struct fs_file_t file;
    const char *test_file_path = "/lfs/boot_test.txt";
    const char *test_string = "FS Self-Test Passed";
    char read_buf[32] = {0};

    LOG_INF("=== 开始文件系统硬件自检 ===");

    /* 1. 尝试挂载 */
    ret = fs_mount(&fs_mnt);
    if (ret < 0) {
        // 如果是 -84 (Corrupted)，Zephyr 的 littlefs 插件通常会自动格式化
        // 这里的错误处理主要针对硬件无法连接等严重问题
        LOG_ERR("文件系统挂载失败: %d", ret);
        return; 
    }
    LOG_INF("1. 挂载成功: %s", fs_mnt.mnt_point);

    /* 2. 基础读写测试 */
    fs_file_t_init(&file);

    // 写入测试文件
    ret = fs_open(&file, test_file_path, FS_O_CREATE | FS_O_RDWR);
    if (ret < 0) {
        LOG_ERR("2. 无法创建测试文件: %d", ret);
    } else {
        fs_write(&file, test_string, strlen(test_string));
        fs_close(&file);
        LOG_INF("2. 写入测试数据成功");

        // 重新读取并校验
        ret = fs_open(&file, test_file_path, FS_O_READ);
        if (ret == 0) {
            fs_read(&file, read_buf, sizeof(read_buf) - 1);
            fs_close(&file);

            if (strcmp(read_buf, test_string) == 0) {
                LOG_INF("3. 数据校验一致: [%s]", read_buf);
                LOG_INF("=== 文件系统自检通过！系统环境正常 ===");
            } else {
                LOG_ERR("3. 数据校验失败！读取内容: %s", read_buf);
            }
        }
    }

    /* 3. 线程退出 */
    LOG_INF("自检线程任务完成，正在退出并释放资源...");
    
    // 在 Zephyr 中，线程函数 return 后，该线程就会进入终止状态
    return; 
}

/* ---------------- 2. 线程定义 ---------------- */
// 设置较高的优先级 (例如 5)，确保它在存储和显示线程之前完成自检
#define FS_CHECK_PRIORITY 5
#define FS_CHECK_STACK_SIZE 2048

K_THREAD_DEFINE(fs_check_tid, FS_CHECK_STACK_SIZE,
                fs_check_thread_entry, NULL, NULL, NULL,
                FS_CHECK_PRIORITY, 0, 0);
```

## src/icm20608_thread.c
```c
/*
 * icm20608_thread.c
 * 应用层线程：支持轮询和中断模式的灵活切换
 */

#include <zephyr/kernel.h>
#include <zephyr/drivers/gpio.h>
#include <zephyr/logging/log.h>
#include "icm20608.h"
#include "data_center.h"

LOG_MODULE_REGISTER(ICM_TASK, LOG_LEVEL_INF);

/* 获取设备树节点标识符 */
#define ICM_NODE DT_NODELABEL(icm20608)

/* 1. 获取 I2C 规格 */
static const struct i2c_dt_spec dev_i2c = I2C_DT_SPEC_GET(ICM_NODE);

/* --- 中断相关组件 --- */
/* 使用条件宏判断设备树中是否存在中断引脚定义，增加代码健壮性 */
#if DT_NODE_HAS_PROP(ICM_NODE, int_gpios)
static const struct gpio_dt_spec dev_int = GPIO_DT_SPEC_GET(ICM_NODE, int_gpios);
static struct gpio_callback icm_gpio_cb;

/* 信号量：中断通知线程读取 */
static K_SEM_DEFINE(icm_sem, 0, 1); 
/* 定义消息队列 */
/* 参数：队列名, 数据大小, 最大消息数(1代表只保留最新), 对齐字节 */
K_MSGQ_DEFINE(imu_msgq, sizeof(icm20608_data_t), 1, 4);

/* 中断处理函数 */
void icm_isr_handler(const struct device *port, struct gpio_callback *cb, uint32_t pins) {
    k_sem_give(&icm_sem);
}
#endif

void icm20608_thread_entry(void *p1, void *p2, void *p3)
{
    int ret;
    icm20608_data_t sensor_data;

    LOG_INF("ICM20608 Thread starting...");

    /* ========================================================== */
    /* 模式选择：请根据实际情况注释掉不需要的一种 */
    
    // 【模式 A：主动轮询模式】—— 不依赖 PD0 引脚，只要 I2C 通就能打印
    // ret = icm20608_init_polling(&dev_i2c);

    // 【模式 B：中断触发模式】—— 依赖 PD0 引脚，只有传感器数据准备好才打印
    #if DT_NODE_HAS_PROP(ICM_NODE, int_gpios)
    ret = icm20608_init_interrupt(&dev_i2c, &dev_int, &icm_gpio_cb, icm_isr_handler);
    #else
    LOG_ERR("DeviceTree overlay lacks 'int-gpios'. Cannot use Interrupt mode.");
    return;
    #endif
    /* ========================================================== */

    if (ret != 0) {
        LOG_ERR("ICM20608 Init failed! Error code: %d", ret);
        return;
    }

    while (1) {
        /* --- 如果是中断模式，则在此等待信号量 --- */
        #if DT_NODE_HAS_PROP(ICM_NODE, int_gpios)
        k_sem_take(&icm_sem, K_FOREVER);
        #endif 
        
        // 读取并打印
        ret = icm20608_read_data(&dev_i2c, &sensor_data);
        if (ret == 0) {
            LOG_DBG("ACC: X=%.2f Y=%.2f Z=%.2f | GYRO: X=%.2f Y=%.2f Z=%.2f | Temp: %.2f",
                        (double)sensor_data.accel_x, (double)sensor_data.accel_y, (double)sensor_data.accel_z,
                        (double)sensor_data.gyro_x, (double)sensor_data.gyro_y, (double)sensor_data.gyro_z,
                        (double)sensor_data.temp);

            // 将数据放入消息队列供其他模块使用
            k_msgq_put(&imu_msgq, &sensor_data, K_NO_WAIT);
            // 同时更新数据中心的全局状态
            data_center_update_imu(&sensor_data);
        }

        // 轮询模式下必须有延时，防止串口刷屏；中断模式下该延时可极大减小或注释掉
        k_msleep(20);
    }
}

/* --- 线程定义和启动 --- */

// 定义栈空间、优先级和线程入口函数
#define ICM20608_STACK_SIZE 1024
#define ICM20608_PRIORITY 7 // 较高的优先级，因为是中断驱动

K_THREAD_DEFINE(icm_tid, ICM20608_STACK_SIZE, 
                icm20608_thread_entry, NULL, NULL, NULL,
                ICM20608_PRIORITY, 0, 0);
```

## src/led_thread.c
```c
#include <zephyr/kernel.h>
#include <zephyr/drivers/gpio.h>
#include <zephyr/drivers/pwm.h>
#include <zephyr/logging/log.h>
#include "led_thread.h"

// 启用日志记录
LOG_MODULE_REGISTER(LED_TASK, LOG_LEVEL_INF);

/* ---------------- 配置参数 ---------------- */
#define TOTAL_STEPS         10    // 1秒内总共调整10次
#define TOTAL_TIME_MS       1000  // 1000 毫秒
#define STEP_DELAY_MS       (TOTAL_TIME_MS / TOTAL_STEPS) // 每次调整间隔 100ms

/* GPIO_DT_SPEC_GET(node_id, property)： 这是Zephyr提供的另一个宏，
* 用于从指定的设备节点ID (LED1_NODE) 中提取名为 property 的属性值，
* 并将其封装成 struct gpio_dt_spec。
* 这里的 gpios 是一个标准的设备树属性名。
*/
static const struct gpio_dt_spec led = GPIO_DT_SPEC_GET(DT_ALIAS(led0), gpios);
// 从设备树中获取定义的 PWM LED 节点
static const struct pwm_dt_spec pwm_led = PWM_DT_SPEC_GET(DT_ALIAS(pwm_led0));

void led_thread_entry(void *p1, void *p2, void *p3)
{
    // ... 在这里初始化您的 LED 设备 ...
    LOG_INF("LED Thread started");

    int ret;
	uint32_t step_count = 0;
    uint32_t pulse_width = 0;
    uint8_t brightness_percent = 0;

	/* 初始化 GPIO (LED) */
    if (!gpio_is_ready_dt(&led)) {
        LOG_ERR("GPIO device not ready");
        return;
    }

    /* 检查 PWM 设备 */
    if (!pwm_is_ready_dt(&pwm_led)) {
        LOG_ERR("PWM device not ready");
        return;
    }

	ret = gpio_pin_configure_dt(&led, GPIO_OUTPUT_ACTIVE);
	if (ret < 0) {
		LOG_ERR("Error: Failed to configure LED pin (ret=%d)", ret);
        while(1) { return; } 
	}
	k_msleep(1000); // 等待 1 秒
	gpio_pin_toggle_dt(&led);
	LOG_DBG("GPIO LED Toggled!");


    while (1) {
		/* --- 1. 计算亮度 (0-100-0) --- */
        // step_count 从 0 增加到 19
        if (step_count < 5) {
            // 前 10 次：从 0% 增加到 90%
            brightness_percent = step_count * 10;
        } else {
            // 后 10 次：从 100% 减少到 1%
            brightness_percent = 100 - step_count * 10;
        }

        /* --- 2. 设置 PWM 亮度 --- */
        // 计算脉冲宽度: 周期 * 百分比 / 100
        pulse_width = (pwm_led.period / 100) * brightness_percent;
        
        ret = pwm_set_dt(&pwm_led, pwm_led.period, pulse_width);
        if (ret < 0) {
            LOG_ERR("Failed to set PWM: %d", ret);
        } else {
			LOG_DBG("PWM set: Brightness %d%%, Pulse Width %u ns",
					brightness_percent, pulse_width);
		}

		/* --- 3. 每 1 分钟切换一次 GPIO LED 状态 --- */
        // 每 20 次步进（即一秒钟）翻转一次
        if (step_count == 0) {
            gpio_pin_toggle_dt(&led);
            LOG_DBG("GPIO LED Toggled, Restarting PWM Cycle");
        }

        /* --- 4. 步进控制 --- */
        step_count++;
        if (step_count >= TOTAL_STEPS) {
            step_count = 0; // 重置计数器，开始下一个一分钟
        }

        /* 休眠 300ms */
        k_msleep(STEP_DELAY_MS);
    }
}

// 线程栈和定义
#define LED_STACK_SIZE 1024
#define LED_PRIORITY 15

K_THREAD_DEFINE(led_tid, LED_STACK_SIZE, 
                led_thread_entry, NULL, NULL, NULL,
                LED_PRIORITY, 0, 0);
```

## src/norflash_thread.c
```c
#include <zephyr/kernel.h>
#include <zephyr/device.h>
#include <zephyr/drivers/flash.h>
#include <zephyr/logging/log.h>
#include <string.h> // 引入 memcmp 用于数据对比

// 启用日志记录，模块名称为 NOR_TASK
LOG_MODULE_REGISTER(NOR_TASK, LOG_LEVEL_INF);

/* ---------------- 配置参数 ---------------- */
// 获取设备树中定义的 w25q128jv 节点
#define FLASH_NODE DT_NODELABEL(w25q128jv)

// 根据你提供的分区表截图，我们选择“用户使用区”进行测试
// 偏移地址：0x00803000
#define TEST_OFFSET           0x00803000
// 测试数据大小 (W25Q128 最小擦除单位是 4096 字节的一个扇区)
#define TEST_SECTOR_SIZE      4096
// XIP 内存映射基地址 (STM32L4 QSPI 固定为 0x90000000)
#define QSPI_MAPPED_BASE      0x90000000

/* 获取 Flash 设备实例 */
static const struct device *flash_dev = DEVICE_DT_GET(FLASH_NODE);

/**
 * @brief Nor Flash 测试线程入口函数
 */
void norflash_thread_entry(void *p1, void *p2, void *p3)
{
    int ret;
    uint8_t write_data[] = "Hello Pandora! W25Q128 Test Success.";
    uint8_t read_data[sizeof(write_data)];
    
    LOG_INF("Nor Flash 测试线程已启动");

    /* 1. 检查 Flash 设备是否就绪 */
    if (!device_is_ready(flash_dev)) {
        LOG_ERR("错误：Flash 设备未就绪！请确认 prj.conf 中开启了 QSPI 驱动。");
        return;
    }
    LOG_INF("找到设备: %s", flash_dev->name);

    while (1) {
        LOG_INF("========== 开始新一轮 Nor Flash 测试 ==========");

        /* 2. 擦除操作 (Flash 写入前必须擦除) */
        // 注意：擦除起始地址和大小都必须按照扇区(4KB)对齐
        LOG_INF("1. 正在擦除偏移地址 0x%x 处的扇区...", TEST_OFFSET);
        ret = flash_erase(flash_dev, TEST_OFFSET, TEST_SECTOR_SIZE);
        if (ret != 0) {
            LOG_ERR("擦除失败! 错误码: %d", ret);
        } else {
            LOG_INF("擦除成功！");

            /* 3. 写入操作 (使用标准 API) */
            LOG_INF("2. 正在写入数据: \"%s\"", write_data);
            ret = flash_write(flash_dev, TEST_OFFSET, write_data, sizeof(write_data));
            if (ret != 0) {
                LOG_ERR("写入失败! 错误码: %d", ret);
            } else {
                LOG_INF("写入成功！");

                /* 4. 读取操作 (使用标准 API) */
                LOG_INF("3. 正在通过 API 读取数据进行校验...");
                ret = flash_read(flash_dev, TEST_OFFSET, read_data, sizeof(read_data));
                if (ret == 0) {
                    LOG_INF("API 读取到的内容: \"%s\"", read_data);
                } else {
                    LOG_ERR("读取失败! 错误码: %d", ret);
                }
            }
        }

        /* 5. XIP 指针读取验证 (直接读取映射地址) */
        // 计算映射后的绝对内存地址
        uint32_t xip_addr = QSPI_MAPPED_BASE + TEST_OFFSET;
        // 定义一个只读指针指向该地址
        const char *xip_ptr = (const char *)xip_addr;
        
        LOG_INF("4. 正在通过 XIP 指针直接读取 (地址: 0x%08x)...", xip_addr);
        // 只有在 menuconfig 中开启了 MemoryMapped 模式，此步才有效
        LOG_INF("指针读取的内容: \"%s\"", xip_ptr);

        /* 【核心新增】：判断指针数据和写入的数据是否完全一致 */
        if (memcmp(xip_ptr, write_data, sizeof(write_data)) == 0) {
            LOG_INF("成功：指针读取数据与写入一致！内容: \"%s\"", xip_ptr);
            LOG_INF(">>> 验证通过，线程将进入永久休眠以保护 Flash 寿命 <<<");
            
            /* 5. 永久休眠 */
            // 方式 A: 让当前线程进入永久睡眠状态
            k_sleep(K_FOREVER); 
        } else {
            LOG_WRN("警告：校验不一致，10秒后尝试重新测试...");
            k_msleep(10000);
        }
    }
}

/* ---------------- 线程定义 ---------------- */
#define NOR_STACK_SIZE 2048
#define NOR_PRIORITY 17

K_THREAD_DEFINE(nor_tid, NOR_STACK_SIZE, 
                norflash_thread_entry, NULL, NULL, NULL,
                NOR_PRIORITY, 0, 0);
```

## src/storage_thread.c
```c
#include <zephyr/kernel.h>
#include <zephyr/fs/fs.h>
#include <zephyr/logging/log.h>
#include <stdio.h>
#include <string.h>

#include "data_center.h"

LOG_MODULE_REGISTER(STORAGE_TASK, LOG_LEVEL_INF);

#define SAVE_INTERVAL_MS  (5 * 60 * 1000) // 正式使用设为 5 分钟
#define CSV_FILE_PATH     "/lfs/data.csv"

void storage_thread_entry(void *p1, void *p2, void *p3)
{
    int ret;
    struct fs_file_t file;
    fs_file_t_init(&file);

    LOG_INF("数据存储线程已就绪 (CSV 格式)");

    while (1) {
        /* 1. 周期性等待 */
        k_msleep(SAVE_INTERVAL_MS);

        system_data_t snap;
        data_center_get_snapshot(&snap);

        /* 构造 CSV 数据行 */
        char row[128];
        // 确保 prj.conf 中有 CONFIG_CBPRINTF_FP_SUPPORT=y
        snprintf(row, sizeof(row), "%u,%.2f,%.2f,%u\n", 
                 (uint32_t)(k_uptime_get() / 1000), 
                 (double)snap.env.temperature, 
                 (double)snap.env.humidity, 
                 snap.lux);

        /* 4. 执行文件写入 */
        ret = fs_open(&file, CSV_FILE_PATH, FS_O_CREATE | FS_O_WRITE | FS_O_APPEND);
        if (ret == 0) {
            fs_write(&file, row, strlen(row));
            fs_close(&file);
            LOG_DBG("[存储成功] 内容: %s", row);
        } else {
            LOG_ERR("文件打开失败: %d", ret);
        }
    }
}

/* ---------------- 线程定义 ---------------- */
/* 定义存储线程：优先级 12 (低于显示和传感器) */
#define STORAGE_PRIORITY 12
#define STORAGE_STACK_SIZE 2048

K_THREAD_DEFINE(storage_tid, STORAGE_STACK_SIZE, 
                storage_thread_entry, NULL, NULL, NULL, 
                STORAGE_PRIORITY, 0, 0);
```

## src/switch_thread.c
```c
/*
 * switch_thread.c
 * 功能：识别四个按键的按下、松开、单击、长按，包含高级消抖与防重复逻辑
 */

#include <zephyr/kernel.h>
#include <zephyr/drivers/gpio.h>
#include <zephyr/logging/log.h>

/* 注册日志模块 */
LOG_MODULE_REGISTER(SWITCH_TASK, LOG_LEVEL_INF);

/* 1. 参数定义 */
#define DEBOUNCE_TIME_MS    50    /* 软件消抖时间阈值 */
#define LONG_PRESS_TIME_MS  500   /* 长按判定时间阈值 */

/* 2. 获取设备树节点别名 (必须与 overlay 中的 aliases 对应) */
static const struct gpio_dt_spec sw_up    = GPIO_DT_SPEC_GET(DT_ALIAS(sw_up), gpios);
static const struct gpio_dt_spec sw_down  = GPIO_DT_SPEC_GET(DT_ALIAS(sw_down), gpios);
static const struct gpio_dt_spec sw_left  = GPIO_DT_SPEC_GET(DT_ALIAS(sw_left), gpios);
static const struct gpio_dt_spec sw_right = GPIO_DT_SPEC_GET(DT_ALIAS(sw_right), gpios);

/* 汇总按键指针数组，方便循环操作 */
static const struct gpio_dt_spec *buttons[] = {&sw_up, &sw_down, &sw_left, &sw_right};
static const char *button_names[] = {"UP", "DOWN", "LEFT", "RIGHT"};

/* 3. 按键状态维护结构体 */
struct button_state {
    struct gpio_callback cb;      /* Zephyr GPIO 回调结构体 */
    int64_t last_trigger_time;    /* 用于消抖检查的时间戳 */
    int64_t last_processed_time;  /* 关键：用于防重复注册的逻辑锁 */
    int64_t press_start_time;     /* 记录按下瞬间的时间戳 */
    bool is_pressed;              /* 当前逻辑电平是否处于按下状态 */
    bool long_press_triggered;    /* 标记长按是否已经触发过，防止重复打印 */
};

/* 定义 4 个按键的状态实例 */
static struct button_state btn_states[4];
/* 整个模块的初始化标志 */
static bool switch_is_initialized = false;

/* 4. 中断服务函数 (ISR) */
void button_isr(const struct device *port, struct gpio_callback *cb, uint32_t pins)
{
    /* 获取当前的系统运行时间 (毫秒) */
    int64_t now = k_uptime_get();
    
    /* 根据 pins 位掩码确定是哪个按键触发了中断 */
    int i;
    for (i = 0; i < 4; i++) {
        if (pins & BIT(buttons[i]->pin)) {
            break;
        }
    }
    if (i == 4) return; /* 未识别到匹配引脚则退出 */

    /* --- [防重入锁] --- 
     * 如果系统时间还没走，就再次进入了 ISR，说明链表中可能存在重复的回调结构体。
     * 这种情况 k_uptime_get() 会返回相同的值，我们直接丢弃。
     */
    if (now == btn_states[i].last_processed_time) {
        return;
    }
    btn_states[i].last_processed_time = now;

    /* --- [软件消抖] --- 
     * 两次中断触发的间隔如果小于 50ms，认为是机械抖动，不予处理。
     */
    if (now - btn_states[i].last_trigger_time < DEBOUNCE_TIME_MS) {
        return;
    }

    /* 获取当前的逻辑电平 (DT 已经根据 ACTIVE_HIGH/LOW 转换好了) 
     * val 为 1 代表有效触发（按下），0 代表无效（松开）
     */
    int val = gpio_pin_get_dt(buttons[i]);
    bool current_pressed = (val > 0);

    /* --- [状态突变检查] --- 
     * 因为配置了双边沿触发，我们必须确保当前读到的状态和我们记录的上一次状态不同。
     * 如果相同，说明是干扰或者已经处理过的逻辑，直接跳过。
     */
    if (current_pressed == btn_states[i].is_pressed) {
        return;
    }

    /* 正式更新最后一次有效触发的时间和状态 */
    btn_states[i].last_trigger_time = now;
    btn_states[i].is_pressed = current_pressed;

    if (current_pressed) {
        /* --- 处理按下事件 --- */
        btn_states[i].press_start_time = now;
        btn_states[i].long_press_triggered = false;
        LOG_INF("Button %s: [PRESSED]", button_names[i]);
    } else {
        /* --- 处理松开事件 --- */
        int64_t duration = now - btn_states[i].press_start_time;
        LOG_INF("Button %s: [RELEASED]", button_names[i]);

        /* 根据按下持续时间判定单击或长按 */
        if (duration < LONG_PRESS_TIME_MS) {
            LOG_INF("Button %s: [SINGLE CLICK] (Duration: %lld ms)", button_names[i], duration);
        } else {
            /* 只有没被实时线程触发过长按逻辑时，才在这里打印完成 */
            LOG_INF("Button %s: [LONG PRESS FINISHED] (Duration: %lld ms)", button_names[i], duration);
        }
    }
}

/* 5. 扫描线程入口 (用于实时识别长按，不需要等待松开) */
void switch_thread_entry(void *p1, void *p2, void *p3)
{
    /* 检查并执行初始化 */
    if (!switch_is_initialized) {
        int ret;
        for (int i = 0; i < 4; i++) {
            /* 硬件就绪检查 */
            if (!device_is_ready(buttons[i]->port)) {
                LOG_ERR("GPIO device %s not ready", button_names[i]);
                continue;
            }

            /* 1. 配置引脚为输入模式 */
            gpio_pin_configure_dt(buttons[i], GPIO_INPUT);

            /* 2. 配置硬件中断：双边沿触发 (Both Edges) */
            ret = gpio_pin_interrupt_configure_dt(buttons[i], GPIO_INT_EDGE_BOTH);
            if (ret != 0) {
                LOG_ERR("Failed to config interrupt on %s (%d)", button_names[i], ret);
                continue;
            }

            /* 3. 初始化并注册回调函数 */
            gpio_init_callback(&btn_states[i].cb, button_isr, BIT(buttons[i]->pin));
            gpio_add_callback(buttons[i]->port, &btn_states[i].cb);

            LOG_INF("Configured %s button (pin %d)", button_names[i], buttons[i]->pin);
        }
        switch_is_initialized = true;
        LOG_INF("All switches initialized successfully.");
    }

    /* 主循环：每 20ms 检查一次是否有按键处于长按阈值 */
    while (1) {
        int64_t now = k_uptime_get();
        for (int i = 0; i < 4; i++) {
            /* 如果按键正被按下，且还没触发过长按逻辑 */
            if (btn_states[i].is_pressed && !btn_states[i].long_press_triggered) {
                if (now - btn_states[i].press_start_time >= LONG_PRESS_TIME_MS) {
                    btn_states[i].long_press_triggered = true;
                    LOG_WRN("Button %s: [LONG PRESS DETECTED!]", button_names[i]);
                }
            }
        }
        k_msleep(20); 
    }
}

/* 6. 定义线程 */
#define SW_STACK_SIZE 1024
#define SW_PRIORITY 7

K_THREAD_DEFINE(sw_thread_id, SW_STACK_SIZE, 
                switch_thread_entry, NULL, NULL, NULL,
                SW_PRIORITY, 0, 0);
```
